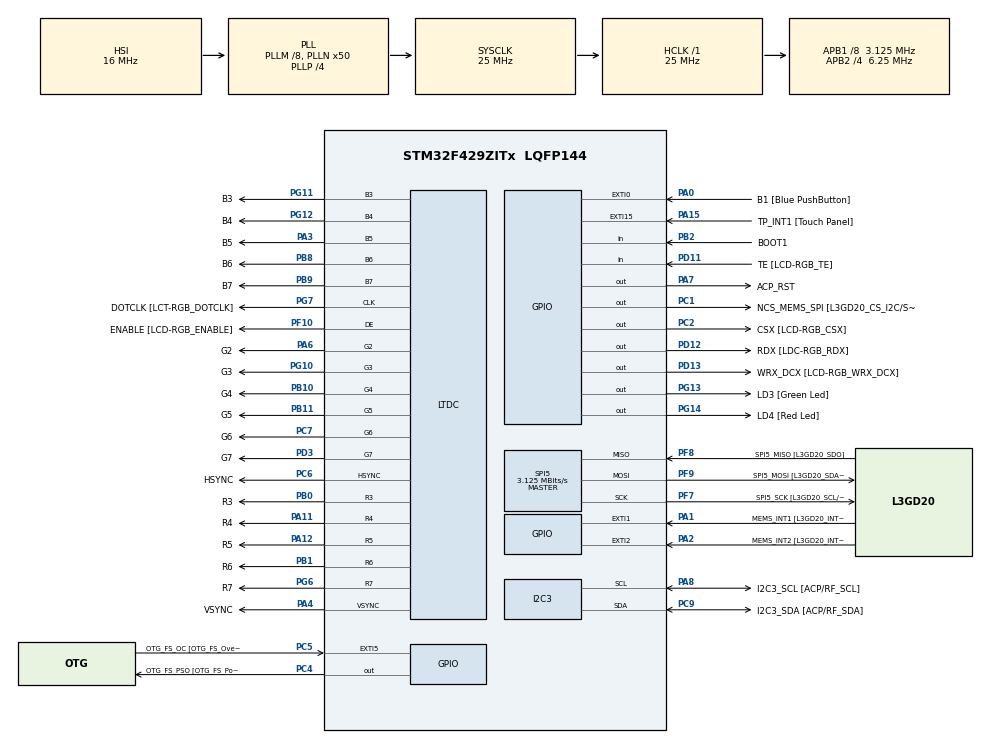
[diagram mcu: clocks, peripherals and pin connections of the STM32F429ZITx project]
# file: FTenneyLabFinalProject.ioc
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Mcu.Family=STM32F4
Mcu.Name=STM32F429ZITx
Mcu.Package=LQFP144
NVIC.PriorityGroup=NVIC_PRIORITYGROUP_0
PA0/WKUP.GPIO_Label=B1 [Blue PushButton]
PA0/WKUP.GPIO_ModeDefaultEXTI=GPIO_MODE_EVT_RISING
PA0/WKUP.GPIO_PuPd=GPIO_NOPULL
PA0/WKUP.Signal=GPXTI0
PA1.GPIO_Label=MEMS_INT1 [L3GD20_INT1]
PA1.GPIO_ModeDefaultEXTI=GPIO_MODE_EVT_RISING
PA1.GPIO_PuPd=GPIO_NOPULL
PA1.Signal=GPXTI1
PA10.GPIO_Label=STLINK_TX [STM32F103CBT6_PA2]
PA10.Signal=USART1_RX
PA11.GPIO_Label=R4
PA11.GPIO_Mode=GPIO_MODE_AF_PP
PA11.GPIO_PuPd=GPIO_NOPULL
PA11.GPIO_Speed=GPIO_SPEED_FREQ_LOW
PA11.Mode=RGB565
PA11.Signal=LTDC_R4
PA12.GPIO_Label=R5
PA12.GPIO_Mode=GPIO_MODE_AF_PP
PA12.GPIO_PuPd=GPIO_NOPULL
PA12.GPIO_Speed=GPIO_SPEED_FREQ_LOW
PA12.Mode=RGB565
PA12.Signal=LTDC_R5
PA13.GPIO_Label=SWDIO
PA13.Signal=SYS_JTMS-SWDIO
PA14.GPIO_Label=SWCLK
PA14.Signal=SYS_JTCK-SWCLK
PA15.GPIO_Label=TP_INT1 [Touch Panel]
PA15.GPIO_ModeDefaultEXTI=GPIO_MODE_EVT_RISING
PA15.GPIO_PuPd=GPIO_NOPULL
PA15.Signal=GPXTI15
PA2.GPIO_Label=MEMS_INT2 [L3GD20_INT2]
PA2.GPIO_ModeDefaultEXTI=GPIO_MODE_EVT_RISING
PA2.GPIO_PuPd=GPIO_NOPULL
PA2.Signal=GPXTI2
PA3.GPIO_Label=B5
PA3.GPIO_Mode=GPIO_MODE_AF_PP
PA3.GPIO_PuPd=GPIO_NOPULL
PA3.GPIO_Speed=GPIO_SPEED_FREQ_LOW
PA3.Mode=RGB565
PA3.Signal=LTDC_B5
PA4.GPIO_Label=VSYNC
PA4.GPIO_Mode=GPIO_MODE_AF_PP
PA4.GPIO_PuPd=GPIO_NOPULL
PA4.GPIO_Speed=GPIO_SPEED_FREQ_LOW
PA4.Mode=RGB565
PA4.Signal=LTDC_VSYNC
PA6.GPIO_Label=G2
PA6.GPIO_Mode=GPIO_MODE_AF_PP
PA6.GPIO_PuPd=GPIO_NOPULL
PA6.GPIO_Speed=GPIO_SPEED_FREQ_LOW
PA6.Mode=RGB565
PA6.Signal=LTDC_G2
PA7.GPIO_Label=ACP_RST
PA7.GPIO_Mode=GPIO_MODE_OUTPUT_PP
PA7.GPIO_PuPd=GPIO_NOPULL
PA7.GPIO_Speed=GPIO_SPEED_FREQ_LOW
PA7.Signal=GPIO_Output
PA8.GPIO_Label=I2C3_SCL [ACP/RF_SCL]
PA8.GPIO_Mode=GPIO_MODE_AF_OD
PA8.GPIO_PuPd=GPIO_NOPULL
PA8.GPIO_Speed=GPIO_SPEED_FREQ_LOW
PA8.Mode=I2C
PA8.Signal=I2C3_SCL
PA9.GPIO_Label=STLINK_RX [STM32F103CBT6_PA3]
PA9.Signal=USART1_TX
PB0.GPIO_Label=R3
PB0.GPIO_Mode=GPIO_MODE_AF_PP
PB0.GPIO_PuPd=GPIO_NOPULL
PB0.GPIO_Speed=GPIO_SPEED_FREQ_LOW
PB0.Mode=RGB565
PB0.Signal=LTDC_R3
PB1.GPIO_Label=R6
PB1.GPIO_Mode=GPIO_MODE_AF_PP
PB1.GPIO_PuPd=GPIO_NOPULL
PB1.GPIO_Speed=GPIO_SPEED_FREQ_LOW
PB1.Mode=RGB565
PB1.Signal=LTDC_R6
PB10.GPIO_Label=G4
PB10.GPIO_Mode=GPIO_MODE_AF_PP
PB10.GPIO_PuPd=GPIO_NOPULL
PB10.GPIO_Speed=GPIO_SPEED_FREQ_LOW
PB10.Mode=RGB565
PB10.Signal=LTDC_G4
PB11.GPIO_Label=G5
PB11.GPIO_Mode=GPIO_MODE_AF_PP
PB11.GPIO_PuPd=GPIO_NOPULL
PB11.GPIO_Speed=GPIO_SPEED_FREQ_LOW
PB11.Mode=RGB565
PB11.Signal=LTDC_G5
PB12.GPIO_Label=OTG_HS_ID
PB12.GPIO_Mode=GPIO_MODE_AF_PP
PB12.GPIO_PuPd=GPIO_NOPULL
PB12.GPIO_Speed=GPIO_SPEED_FREQ_LOW
PB12.Signal=USB_OTG_HS_ID
PB13.GPIO_Label=VBUS_HS
PB13.GPIO_Mode=GPIO_MODE_INPUT
PB13.GPIO_PuPd=GPIO_NOPULL
PB13.Signal=USB_OTG_HS_VBUS
PB14.GPIO_Label=OTG_HS_DM
PB14.GPIO_Mode=GPIO_MODE_AF_PP
PB14.GPIO_PuPd=GPIO_NOPULL
PB14.GPIO_Speed=GPIO_SPEED_FREQ_LOW
PB14.Signal=USB_OTG_HS_DM
PB15.GPIO_Label=OTG_HS_DP
PB15.GPIO_Mode=GPIO_MODE_AF_PP
PB15.GPIO_PuPd=GPIO_NOPULL
PB15.GPIO_Speed=GPIO_SPEED_FREQ_LOW
PB15.Signal=USB_OTG_HS_DP
PB2/BOOT1.GPIO_Label=BOOT1
PB2/BOOT1.GPIO_Mode=GPIO_MODE_INPUT
PB2/BOOT1.GPIO_PuPd=GPIO_NOPULL
PB2/BOOT1.Signal=GPIO_Input
PB5.GPIO_Label=SDCKE1
PB5.GPIO_Mode=GPIO_MODE_AF_PP
PB5.GPIO_PuPd=GPIO_NOPULL
PB5.GPIO_Speed=GPIO_SPEED_FREQ_VERY_HIGH
PB5.Signal=FMC_SDCKE1
PB6.GPIO_Label=SDNE1 [SDRAM_CS]
PB6.GPIO_Mode=GPIO_MODE_AF_PP
PB6.GPIO_PuPd=GPIO_NOPULL
PB6.GPIO_Speed=GPIO_SPEED_FREQ_VERY_HIGH
PB6.Signal=FMC_SDNE1
PB8.GPIO_Label=B6
PB8.GPIO_Mode=GPIO_MODE_AF_PP
PB8.GPIO_PuPd=GPIO_NOPULL
PB8.GPIO_Speed=GPIO_SPEED_FREQ_LOW
PB8.Mode=RGB565
PB8.Signal=LTDC_B6
PB9.GPIO_Label=B7
PB9.GPIO_Mode=GPIO_MODE_AF_PP
PB9.GPIO_PuPd=GPIO_NOPULL
PB9.GPIO_Speed=GPIO_SPEED_FREQ_LOW
PB9.Mode=RGB565
PB9.Signal=LTDC_B7
PC0.GPIO_Label=SDNWE
PC0.GPIO_Mode=GPIO_MODE_AF_PP
PC0.GPIO_PuPd=GPIO_NOPULL
PC0.GPIO_Speed=GPIO_SPEED_FREQ_VERY_HIGH
PC0.Signal=FMC_SDNWE
PC1.GPIO_Label=NCS_MEMS_SPI [L3GD20_CS_I2C/SPI]
PC1.GPIO_Mode=GPIO_MODE_OUTPUT_PP
PC1.GPIO_PuPd=GPIO_NOPULL
PC1.GPIO_Speed=GPIO_SPEED_FREQ_LOW
PC1.Signal=GPIO_Output
PC10.GPIO_Label=R2
PC10.GPIO_Mode=GPIO_MODE_AF_PP
PC10.GPIO_PuPd=GPIO_NOPULL
PC10.GPIO_Speed=GPIO_SPEED_FREQ_LOW
PC10.Signal=LTDC_R2
PC14/OSC32_IN.GPIO_Label=PC14-OSC32_IN
PC14/OSC32_IN.Signal=RCC_OSC32_IN
PC15/OSC32_OUT.GPIO_Label=PC15-OSC32_OUT
PC15/OSC32_OUT.Signal=RCC_OSC32_OUT
PC2.GPIO_Label=CSX [LCD-RGB_CSX]
PC2.GPIO_Mode=GPIO_MODE_OUTPUT_PP
PC2.GPIO_PuPd=GPIO_NOPULL
PC2.GPIO_Speed=GPIO_SPEED_FREQ_LOW
PC2.Signal=GPIO_Output
PC4.GPIO_Label=OTG_FS_PSO [OTG_FS_PowerSwitchOn]
PC4.GPIO_Mode=GPIO_MODE_OUTPUT_PP
PC4.GPIO_PuPd=GPIO_NOPULL
PC4.GPIO_Speed=GPIO_SPEED_FREQ_LOW
PC4.Signal=GPIO_Output
PC5.GPIO_Label=OTG_FS_OC [OTG_FS_OverCurrent]
PC5.GPIO_ModeDefaultEXTI=GPIO_MODE_EVT_RISING
PC5.Signal=GPXTI5
PC6.GPIO_Label=HSYNC
PC6.GPIO_Mode=GPIO_MODE_AF_PP
PC6.GPIO_PuPd=GPIO_NOPULL
PC6.GPIO_Speed=GPIO_SPEED_FREQ_LOW
PC6.Mode=RGB565
PC6.Signal=LTDC_HSYNC
PC7.GPIO_Label=G6
PC7.GPIO_Mode=GPIO_MODE_AF_PP
PC7.GPIO_PuPd=GPIO_NOPULL
PC7.GPIO_Speed=GPIO_SPEED_FREQ_LOW
PC7.Mode=RGB565
PC7.Signal=LTDC_G6
PC9.GPIO_Label=I2C3_SDA [ACP/RF_SDA]
PC9.GPIO_Mode=GPIO_MODE_AF_OD
PC9.GPIO_PuPd=GPIO_NOPULL
PC9.GPIO_Speed=GPIO_SPEED_FREQ_LOW
PC9.Mode=I2C
PC9.Signal=I2C3_SDA
PD0.GPIO_Label=D2
PD0.GPIO_Mode=GPIO_MODE_AF_PP
PD0.GPIO_PuPd=GPIO_NOPULL
PD0.GPIO_Speed=GPIO_SPEED_FREQ_VERY_HIGH
PD0.Signal=FMC_D2_DA2
PD1.GPIO_Label=D3
PD1.GPIO_Mode=GPIO_MODE_AF_PP
PD1.GPIO_PuPd=GPIO_NOPULL
PD1.GPIO_Speed=GPIO_SPEED_FREQ_VERY_HIGH
PD1.Signal=FMC_D3_DA3
PD10.GPIO_Label=D15
PD10.GPIO_Mode=GPIO_MODE_AF_PP
PD10.GPIO_PuPd=GPIO_NOPULL
PD10.GPIO_Speed=GPIO_SPEED_FREQ_VERY_HIGH
PD10.Signal=FMC_D15_DA15
PD11.GPIO_Label=TE [LCD-RGB_TE]
PD11.GPIO_Mode=GPIO_MODE_INPUT
PD11.GPIO_PuPd=GPIO_NOPULL
PD11.Signal=GPIO_Input
PD12.GPIO_Label=RDX [LDC-RGB_RDX]
PD12.GPIO_Mode=GPIO_MODE_OUTPUT_PP
PD12.GPIO_PuPd=GPIO_NOPULL
PD12.GPIO_Speed=GPIO_SPEED_FREQ_LOW
PD12.Signal=GPIO_Output
PD13.GPIO_Label=WRX_DCX [LCD-RGB_WRX_DCX]
PD13.GPIO_Mode=GPIO_MODE_OUTPUT_PP
PD13.GPIO_PuPd=GPIO_NOPULL
PD13.GPIO_Speed=GPIO_SPEED_FREQ_LOW
PD13.Signal=GPIO_Output
PD14.GPIO_Label=D0
PD14.GPIO_Mode=GPIO_MODE_AF_PP
PD14.GPIO_PuPd=GPIO_NOPULL
PD14.GPIO_Speed=GPIO_SPEED_FREQ_VERY_HIGH
PD14.Signal=FMC_D0_DA0
PD15.GPIO_Label=D1
PD15.GPIO_Mode=GPIO_MODE_AF_PP
PD15.GPIO_PuPd=GPIO_NOPULL
PD15.GPIO_Speed=GPIO_SPEED_FREQ_VERY_HIGH
PD15.Signal=FMC_D1_DA1
PD3.GPIO_Label=G7
PD3.GPIO_Mode=GPIO_MODE_AF_PP
PD3.GPIO_PuPd=GPIO_NOPULL
PD3.GPIO_Speed=GPIO_SPEED_FREQ_LOW
PD3.Mode=RGB565
PD3.Signal=LTDC_G7
PD6.GPIO_Label=B2
PD6.GPIO_Mode=GPIO_MODE_AF_PP
PD6.GPIO_PuPd=GPIO_NOPULL
PD6.GPIO_Speed=GPIO_SPEED_FREQ_LOW
PD6.Signal=LTDC_B2
PD8.GPIO_Label=D13
PD8.GPIO_Mode=GPIO_MODE_AF_PP
PD8.GPIO_PuPd=GPIO_NOPULL
PD8.GPIO_Speed=GPIO_SPEED_FREQ_VERY_HIGH
PD8.Signal=FMC_D13_DA13
PD9.GPIO_Label=D14
PD9.GPIO_Mode=GPIO_MODE_AF_PP
PD9.GPIO_PuPd=GPIO_NOPULL
PD9.GPIO_Speed=GPIO_SPEED_FREQ_VERY_HIGH
PD9.Signal=FMC_D14_DA14
PE0.GPIO_Label=NBL0 [SDRAM_LDQM]
PE0.GPIO_Mode=GPIO_MODE_AF_PP
PE0.GPIO_PuPd=GPIO_NOPULL
PE0.GPIO_Speed=GPIO_SPEED_FREQ_VERY_HIGH
PE0.Signal=FMC_NBL0
PE1.GPIO_Label=NBL1 [SDRAM_UDQM]
PE1.GPIO_Mode=GPIO_MODE_AF_PP
PE1.GPIO_PuPd=GPIO_NOPULL
PE1.GPIO_Speed=GPIO_SPEED_FREQ_VERY_HIGH
PE1.Signal=FMC_NBL1
PE10.GPIO_Label=D7
PE10.GPIO_Mode=GPIO_MODE_AF_PP
PE10.GPIO_PuPd=GPIO_NOPULL
PE10.GPIO_Speed=GPIO_SPEED_FREQ_VERY_HIGH
PE10.Signal=FMC_D7_DA7
PE11.GPIO_Label=D8
PE11.GPIO_Mode=GPIO_MODE_AF_PP
PE11.GPIO_PuPd=GPIO_NOPULL
PE11.GPIO_Speed=GPIO_SPEED_FREQ_VERY_HIGH
PE11.Signal=FMC_D8_DA8
PE12.GPIO_Label=D9
PE12.GPIO_Mode=GPIO_MODE_AF_PP
PE12.GPIO_PuPd=GPIO_NOPULL
PE12.GPIO_Speed=GPIO_SPEED_FREQ_VERY_HIGH
PE12.Signal=FMC_D9_DA9
PE13.GPIO_Label=D10
PE13.GPIO_Mode=GPIO_MODE_AF_PP
PE13.GPIO_PuPd=GPIO_NOPULL
PE13.GPIO_Speed=GPIO_SPEED_FREQ_VERY_HIGH
PE13.Signal=FMC_D10_DA10
PE14.GPIO_Label=D11
PE14.GPIO_Mode=GPIO_MODE_AF_PP
PE14.GPIO_PuPd=GPIO_NOPULL
PE14.GPIO_Speed=GPIO_SPEED_FREQ_VERY_HIGH
PE14.Signal=FMC_D11_DA11
PE15.GPIO_Label=D12
PE15.GPIO_Mode=GPIO_MODE_AF_PP
PE15.GPIO_PuPd=GPIO_NOPULL
PE15.GPIO_Speed=GPIO_SPEED_FREQ_VERY_HIGH
PE15.Signal=FMC_D12_DA12
PE7.GPIO_Label=D4
PE7.GPIO_Mode=GPIO_MODE_AF_PP
PE7.GPIO_PuPd=GPIO_NOPULL
PE7.GPIO_Speed=GPIO_SPEED_FREQ_VERY_HIGH
PE7.Signal=FMC_D4_DA4
PE8.GPIO_Label=D5
PE8.GPIO_Mode=GPIO_MODE_AF_PP
PE8.GPIO_PuPd=GPIO_NOPULL
PE8.GPIO_Speed=GPIO_SPEED_FREQ_VERY_HIGH
PE8.Signal=FMC_D5_DA5
PE9.GPIO_Label=D6
PE9.GPIO_Mode=GPIO_MODE_AF_PP
PE9.GPIO_PuPd=GPIO_NOPULL
PE9.GPIO_Speed=GPIO_SPEED_FREQ_VERY_HIGH
PE9.Signal=FMC_D6_DA6
PF0.GPIO_Label=A0
PF0.GPIO_Mode=GPIO_MODE_AF_PP
PF0.GPIO_PuPd=GPIO_NOPULL
PF0.GPIO_Speed=GPIO_SPEED_FREQ_VERY_HIGH
PF0.Signal=FMC_A0
PF1.GPIO_Label=A1
PF1.GPIO_Mode=GPIO_MODE_AF_PP
PF1.GPIO_PuPd=GPIO_NOPULL
PF1.GPIO_Speed=GPIO_SPEED_FREQ_VERY_HIGH
PF1.Signal=FMC_A1
PF10.GPIO_Label=ENABLE [LCD-RGB_ENABLE]
PF10.GPIO_Mode=GPIO_MODE_AF_PP
PF10.GPIO_PuPd=GPIO_NOPULL
PF10.GPIO_Speed=GPIO_SPEED_FREQ_LOW
PF10.Mode=RGB565
PF10.Signal=LTDC_DE
PF11.GPIO_Label=SDNRAS
PF11.GPIO_Mode=GPIO_MODE_AF_PP
PF11.GPIO_PuPd=GPIO_NOPULL
PF11.GPIO_Speed=GPIO_SPEED_FREQ_VERY_HIGH
PF11.Signal=FMC_SDNRAS
PF12.GPIO_Label=A6
PF12.GPIO_Mode=GPIO_MODE_AF_PP
PF12.GPIO_PuPd=GPIO_NOPULL
PF12.GPIO_Speed=GPIO_SPEED_FREQ_VERY_HIGH
PF12.Signal=FMC_A6
PF13.GPIO_Label=A7
PF13.GPIO_Mode=GPIO_MODE_AF_PP
PF13.GPIO_PuPd=GPIO_NOPULL
PF13.GPIO_Speed=GPIO_SPEED_FREQ_VERY_HIGH
PF13.Signal=FMC_A7
PF14.GPIO_Label=A8
PF14.GPIO_Mode=GPIO_MODE_AF_PP
PF14.GPIO_PuPd=GPIO_NOPULL
PF14.GPIO_Speed=GPIO_SPEED_FREQ_VERY_HIGH
PF14.Signal=FMC_A8
PF15.GPIO_Label=A9
PF15.GPIO_Mode=GPIO_MODE_AF_PP
PF15.GPIO_PuPd=GPIO_NOPULL
PF15.GPIO_Speed=GPIO_SPEED_FREQ_VERY_HIGH
PF15.Signal=FMC_A9
PF2.GPIO_Label=A2
PF2.GPIO_Mode=GPIO_MODE_AF_PP
PF2.GPIO_PuPd=GPIO_NOPULL
PF2.GPIO_Speed=GPIO_SPEED_FREQ_VERY_HIGH
PF2.Signal=FMC_A2
PF3.GPIO_Label=A3
PF3.GPIO_Mode=GPIO_MODE_AF_PP
PF3.GPIO_PuPd=GPIO_NOPULL
PF3.GPIO_Speed=GPIO_SPEED_FREQ_VERY_HIGH
PF3.Signal=FMC_A3
PF4.GPIO_Label=A4
PF4.GPIO_Mode=GPIO_MODE_AF_PP
PF4.GPIO_PuPd=GPIO_NOPULL
PF4.GPIO_Speed=GPIO_SPEED_FREQ_VERY_HIGH
PF4.Signal=FMC_A4
PF5.GPIO_Label=A5
PF5.GPIO_Mode=GPIO_MODE_AF_PP
PF5.GPIO_PuPd=GPIO_NOPULL
PF5.GPIO_Speed=GPIO_SPEED_FREQ_VERY_HIGH
PF5.Signal=FMC_A5
PF7.GPIO_Label=SPI5_SCK [L3GD20_SCL/SPC]
PF7.GPIO_Mode=GPIO_MODE_AF_PP
PF7.GPIO_PuPd=GPIO_NOPULL
PF7.GPIO_Speed=GPIO_SPEED_FREQ_LOW
PF7.Mode=Full_Duplex_Master
PF7.Signal=SPI5_SCK
PF8.GPIO_Label=SPI5_MISO [L3GD20_SDO]
PF8.GPIO_Mode=GPIO_MODE_AF_PP
PF8.GPIO_PuPd=GPIO_NOPULL
PF8.GPIO_Speed=GPIO_SPEED_FREQ_LOW
PF8.Mode=Full_Duplex_Master
PF8.Signal=SPI5_MISO
PF9.GPIO_Label=SPI5_MOSI [L3GD20_SDA/SDI/SDO]
PF9.GPIO_Mode=GPIO_MODE_AF_PP
PF9.GPIO_PuPd=GPIO_NOPULL
PF9.GPIO_Speed=GPIO_SPEED_FREQ_LOW
PF9.Mode=Full_Duplex_Master
PF9.Signal=SPI5_MOSI
PG0.GPIO_Label=A10
PG0.GPIO_Mode=GPIO_MODE_AF_PP
PG0.GPIO_PuPd=GPIO_NOPULL
PG0.GPIO_Speed=GPIO_SPEED_FREQ_VERY_HIGH
PG0.Signal=FMC_A10
PG1.GPIO_Label=A11
PG1.GPIO_Mode=GPIO_MODE_AF_PP
PG1.GPIO_PuPd=GPIO_NOPULL
PG1.GPIO_Speed=GPIO_SPEED_FREQ_VERY_HIGH
PG1.Signal=FMC_A11
PG10.GPIO_Label=G3
PG10.GPIO_Mode=GPIO_MODE_AF_PP
PG10.GPIO_PuPd=GPIO_NOPULL
PG10.GPIO_Speed=GPIO_SPEED_FREQ_LOW
PG10.Mode=RGB565
PG10.Signal=LTDC_G3
PG11.GPIO_Label=B3
PG11.GPIO_Mode=GPIO_MODE_AF_PP
PG11.GPIO_PuPd=GPIO_NOPULL
PG11.GPIO_Speed=GPIO_SPEED_FREQ_LOW
PG11.Mode=RGB565
PG11.Signal=LTDC_B3
PG12.GPIO_Label=B4
PG12.GPIO_Mode=GPIO_MODE_AF_PP
PG12.GPIO_PuPd=GPIO_NOPULL
PG12.GPIO_Speed=GPIO_SPEED_FREQ_LOW
PG12.Mode=RGB565
PG12.Signal=LTDC_B4
PG13.GPIO_Label=LD3 [Green Led]
PG13.GPIO_Mode=GPIO_MODE_OUTPUT_PP
PG13.GPIO_PuPd=GPIO_NOPULL
PG13.GPIO_Speed=GPIO_SPEED_FREQ_LOW
PG13.Signal=GPIO_Output
PG14.GPIO_Label=LD4 [Red Led]
PG14.GPIO_Mode=GPIO_MODE_OUTPUT_PP
PG14.GPIO_PuPd=GPIO_NOPULL
PG14.GPIO_Speed=GPIO_SPEED_FREQ_LOW
PG14.Signal=GPIO_Output
PG15.GPIO_Label=SDNCAS
PG15.GPIO_Mode=GPIO_MODE_AF_PP
PG15.GPIO_PuPd=GPIO_NOPULL
PG15.GPIO_Speed=GPIO_SPEED_FREQ_VERY_HIGH
PG15.Signal=FMC_SDNCAS
PG4.GPIO_Label=BA0
PG4.GPIO_Mode=GPIO_MODE_AF_PP
PG4.GPIO_PuPd=GPIO_NOPULL
PG4.GPIO_Speed=GPIO_SPEED_FREQ_VERY_HIGH
PG4.Signal=FMC_A14_BA0
PG5.GPIO_Label=BA1
PG5.GPIO_Mode=GPIO_MODE_AF_PP
PG5.GPIO_PuPd=GPIO_NOPULL
PG5.GPIO_Speed=GPIO_SPEED_FREQ_VERY_HIGH
PG5.Signal=FMC_A15_BA1
PG6.GPIO_Label=R7
PG6.GPIO_Mode=GPIO_MODE_AF_PP
PG6.GPIO_PuPd=GPIO_NOPULL
PG6.GPIO_Speed=GPIO_SPEED_FREQ_LOW
PG6.Mode=RGB565
PG6.Signal=LTDC_R7
PG7.GPIO_Label=DOTCLK [LCT-RGB_DOTCLK]
PG7.GPIO_Mode=GPIO_MODE_AF_PP
PG7.GPIO_PuPd=GPIO_NOPULL
PG7.GPIO_Speed=GPIO_SPEED_FREQ_LOW
PG7.Mode=RGB565
PG7.Signal=LTDC_CLK
PG8.GPIO_Label=SDCLK
PG8.GPIO_Mode=GPIO_MODE_AF_PP
PG8.GPIO_PuPd=GPIO_NOPULL
PG8.GPIO_Speed=GPIO_SPEED_FREQ_VERY_HIGH
PG8.Signal=FMC_SDCLK
PH0/OSC_IN.GPIO_Label=PH0-OSC_IN
PH0/OSC_IN.Signal=RCC_OSC_IN
PH1/OSC_OUT.GPIO_Label=PH1-OSC_OUT
PH1/OSC_OUT.Signal=RCC_OSC_OUT
ProjectManager.HeapSize=0x200
ProjectManager.StackSize=0x400
ProjectManager.TargetToolchain=STM32CubeIDE
RCC.48MHZClocksFreq_Value=14285714.285714285
RCC.AHBFreq_Value=25000000
RCC.APB1CLKDivider=RCC_HCLK_DIV8
RCC.APB1Freq_Value=3125000
RCC.APB1TimFreq_Value=6250000
RCC.APB2CLKDivider=RCC_HCLK_DIV4
RCC.APB2Freq_Value=6250000
RCC.APB2TimFreq_Value=12500000
RCC.CortexFreq_Value=25000000
RCC.HCLKFreq_Value=25000000
RCC.HSE_VALUE=8000000
RCC.HSI_VALUE=16000000
RCC.LSE_VALUE=32768
RCC.PLLM=8
RCC.PLLN=50
RCC.PLLP=RCC_PLLP_DIV4
RCC.PLLQ=7
RCC.PLLSAIN=50
RCC.SYSCLKFreq_VALUE=25000000
RCC.SYSCLKSource=RCC_SYSCLKSOURCE_PLLCLK
RCC.VCOOutputFreq_Value=100000000
SH.FMC_A0.0=FMC_A0
SH.FMC_A1.0=FMC_A1
SH.FMC_A10.0=FMC_A10
SH.FMC_A11.0=FMC_A11
SH.FMC_A14_BA0.0=FMC_BA0
SH.FMC_A15_BA1.0=FMC_BA1
SH.FMC_A2.0=FMC_A2
SH.FMC_A3.0=FMC_A3
SH.FMC_A4.0=FMC_A4
SH.FMC_A5.0=FMC_A5
SH.FMC_A6.0=FMC_A6
SH.FMC_A7.0=FMC_A7
SH.FMC_A8.0=FMC_A8
SH.FMC_A9.0=FMC_A9
SH.FMC_D0_DA0.0=FMC_D0
SH.FMC_D10_DA10.0=FMC_D10
SH.FMC_D11_DA11.0=FMC_D11
SH.FMC_D12_DA12.0=FMC_D12
SH.FMC_D13_DA13.0=FMC_D13
SH.FMC_D14_DA14.0=FMC_D14
SH.FMC_D15_DA15.0=FMC_D15
SH.FMC_D1_DA1.0=FMC_D1
SH.FMC_D2_DA2.0=FMC_D2
SH.FMC_D3_DA3.0=FMC_D3
SH.FMC_D4_DA4.0=FMC_D4
SH.FMC_D5_DA5.0=FMC_D5
SH.FMC_D6_DA6.0=FMC_D6
SH.FMC_D7_DA7.0=FMC_D7
SH.FMC_D8_DA8.0=FMC_D8
SH.FMC_D9_DA9.0=FMC_D9
SH.FMC_NBL0.0=FMC_NBL0
SH.FMC_NBL1.0=FMC_NBL1
SH.FMC_SDCLK.0=FMC_SDCLK
SH.FMC_SDNCAS.0=FMC_SDNCAS
SH.FMC_SDNRAS.0=FMC_SDNRAS
SH.FMC_SDNWE.0=FMC_SDNWE
SPI5.CalculateBaudRate=3.125 MBits/s
SPI5.Direction=SPI_DIRECTION_2LINES
SPI5.Mode=SPI_MODE_MASTER
SPI5.VirtualType=VM_MASTER
VP_RNG_VS_RNG.Mode=RNG_Activate
VP_TIM7_VS_ClockSourceINT.Mode=Enable_Timer
board=STM32F429I-DISC1

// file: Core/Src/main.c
/* USER CODE BEGIN Header */
/**
  ******************************************************************************
  * @file           : main.c
  * @brief          : Main program body
  ******************************************************************************
  * @attention
  *
  * Copyright (c) 2024 STMicroelectronics.
  * All rights reserved.
  *
  * This software is licensed under terms that can be found in the LICENSE file
  * in the root directory of this software component.
  * If no LICENSE file comes with this software, it is provided AS-IS.
  *
  ******************************************************************************
  */
/* USER CODE END Header */
#include "main.h"
#include "LCD_Driver.h"
#include "ApplicationCode.h"
#include "ButtonDriver.h"

uint16_t CurrentY = 200;
void SystemClock_Config(void);
void SystemClockOverride(void);
// static void MX_GPIO_Init(void);

I2C_HandleTypeDef hi2c3;

LTDC_HandleTypeDef hltdc;

RNG_HandleTypeDef hrng;

SPI_HandleTypeDef hspi5;

TIM_HandleTypeDef htim7;

void SystemClock_Config(void);
static void MX_GPIO_Init(void);
static void MX_I2C3_Init(void);
static void MX_LTDC_Init(void);
static void MX_RNG_Init(void);
static void MX_SPI5_Init(void);
static void MX_TIM7_Init(void);

void startScreen(void){
	LCD_Clear(0,LCD_COLOR_WHITE);
	 LCD_SetTextColor(LCD_COLOR_BLACK);
		  LCD_SetFont(&Font16x24);
		  LCD_DisplayChar(60, 50, 'T');
		  LCD_SetTextColor(LCD_COLOR_BLACK);
		  LCD_SetFont(&Font16x24);
		  LCD_DisplayChar(80, 50, 'E');
		  LCD_SetTextColor(LCD_COLOR_BLACK);
		  LCD_SetFont(&Font16x24);
		  LCD_DisplayChar(100, 50, 'T');
		  LCD_SetTextColor(LCD_COLOR_BLACK);
		  LCD_SetFont(&Font16x24);
		  LCD_DisplayChar(120, 50, 'R');
		  LCD_SetTextColor(LCD_COLOR_BLACK);
		  LCD_SetFont(&Font16x24);
		  LCD_DisplayChar(140, 50, 'I');
		  LCD_SetTextColor(LCD_COLOR_BLACK);
		  LCD_SetFont(&Font16x24);
		  LCD_DisplayChar(160, 50, 'S');
		  LCD_Draw_Rectangle_Fill(85, 25, LCD_COLOR_BLACK, 0);
		  //LCD_Draw_Rectangle_Rotate1_Fill(25, 25, LCD_COLOR_CYAN);
		  LCD_Draw_BBox_Fill(50, 240, LCD_COLOR_GREEN);
		  LCD_Draw_LShape1_Fill(70, 75, LCD_COLOR_MAGENTA,0);
		  LCD_Draw_LShape2_Fill(150, 100, LCD_COLOR_CYAN,0);
		  LCD_Draw_TBox_Fill(45, 10,  LCD_COLOR_RED,0);
		  LCD_Draw_ZShape_Fill(190, 175, LCD_COLOR_GREY,0);
		  LCD_Draw_SShape_Fill(200, 100, LCD_COLOR_BLUE2,0);
		  LCD_Draw_Platform_Fill(0, 300, LCD_COLOR_BLACK);
		  LCD_SetFont(&Font16x24);
		  LCD_DisplayChar(70, 150, 'S');
		  LCD_SetTextColor(LCD_COLOR_BLACK);
		  LCD_SetFont(&Font16x24);
		  LCD_DisplayChar(90, 150, 'T');
		  LCD_SetTextColor(LCD_COLOR_BLACK);
		  LCD_SetFont(&Font16x24);
		  LCD_DisplayChar(110, 150, 'A');
		  LCD_SetTextColor(LCD_COLOR_BLACK);
		  LCD_SetFont(&Font16x24);
		  LCD_DisplayChar(130, 150, 'R');
		  LCD_SetTextColor(LCD_COLOR_BLACK);
		  LCD_SetFont(&Font16x24);
		  LCD_DisplayChar(150, 150, 'T');
}
void gameScreen(uint32_t BlockNumber){
   uint32_t eventsToRun;
	uint16_t y = 0;
	uint16_t blockSize = 20;
	uint16_t Fallrate = 100;
	uint16_t degree = 0;
	uint16_t level = 75;
//LCD_PIXEL_HEIGHT   ((uint16_t)320)
		switch(BlockNumber){
						case 0:
							for(y =0; y<CurrentY; y++){
								  LCD_Clear_Game(0, LCD_COLOR_BLUE, CurrentY+level);
								  LCD_Draw_Platform_Fill(0, 300, LCD_COLOR_BLACK);
								  LCD_Draw_BBox_Fill(50, (y + level) , LCD_COLOR_GREEN);
									  if(y == 274){
										LCD_Draw_Platform_Fill(0, 300, LCD_COLOR_BLACK);
										LCD_Draw_BBox_Fill(50, (y + level) , LCD_COLOR_GREEN);
									  }

									  HAL_Delay(Fallrate);
									  eventsToRun = getScheduledEvents();
									  if(ROTATE_BLOCK & eventsToRun){

										removeSchedulerEvent(ROTATE_BLOCK);
									  }
								  }
							CurrentY = y - blockSize;
							break;
						case 1:

							while(y != CurrentY){
								if(y < 289){
								  LCD_Clear_Game(0, LCD_COLOR_BLUE, CurrentY+level);
								  LCD_Draw_Platform_Fill(0, 300, LCD_COLOR_BLACK);
								  LCD_Draw_Rectangle_Fill(50, (y + level), LCD_COLOR_MAGENTA, degree);
								}
								if(y == 289){
										LCD_Draw_Platform_Fill(0, 300, LCD_COLOR_BLACK);
										LCD_Draw_Rectangle_Fill(50, (y + level), LCD_COLOR_MAGENTA, degree);
								  }
									  HAL_Delay(Fallrate);
									  y++;
								eventsToRun = getScheduledEvents();
								if(ROTATE_BLOCK & eventsToRun){
										degree = 1 - degree;
										 removeSchedulerEvent(ROTATE_BLOCK);
								}

							}
							CurrentY = y - blockSize;
							break;
						case 2:
							while(y != CurrentY){
									LCD_Clear_Game(0, LCD_COLOR_BLUE, CurrentY+level);
									  LCD_Draw_Platform_Fill(0, 300, LCD_COLOR_BLACK);
									  LCD_Draw_LShape1_Fill(50, (y + level), LCD_COLOR_YELLOW,degree);
										  if(y == 289){
											LCD_Draw_Platform_Fill(0, 300, LCD_COLOR_BLACK);
											LCD_Draw_LShape1_Fill(50, (y + level) , LCD_COLOR_YELLOW,degree);
										  }

										  HAL_Delay(Fallrate);
										  y++;
										  eventsToRun = getScheduledEvents();
										if(ROTATE_BLOCK & eventsToRun){
												degree = 1 - degree;
												 removeSchedulerEvent(ROTATE_BLOCK);
										}
									  }
								CurrentY = y - blockSize;
								break;
						case 3:
							while(y != CurrentY){
									LCD_Clear_Game(0, LCD_COLOR_BLUE, CurrentY+level);
									  LCD_Draw_Platform_Fill(0, 300, LCD_COLOR_BLACK);
									  LCD_Draw_LShape2_Fill(50, (y + level), LCD_COLOR_RED, degree);
										  if(y == 289){
											LCD_Draw_Platform_Fill(0, 300, LCD_COLOR_BLACK);
											LCD_Draw_LShape2_Fill(50, (y + level), LCD_COLOR_RED, degree);
										  }

										  HAL_Delay(Fallrate);
                                          y++;
										  eventsToRun = getScheduledEvents();
										if(ROTATE_BLOCK & eventsToRun){
												degree = 1 - degree;
												 removeSchedulerEvent(ROTATE_BLOCK);
										}
									  }
								CurrentY = y - blockSize;
								break;
						case 4:
							    while(y != CurrentY){
									LCD_Clear_Game(0, LCD_COLOR_BLUE, CurrentY+level);
									  LCD_Draw_Platform_Fill(0, 300, LCD_COLOR_BLACK);
									  LCD_Draw_TBox_Fill(50, (y + level), LCD_COLOR_RED, degree);
										  if(y == 289){
											LCD_Draw_Platform_Fill(0, 300, LCD_COLOR_BLACK);
											LCD_Draw_TBox_Fill(50, (y + level), LCD_COLOR_RED,degree);
										  }

										  HAL_Delay(Fallrate);
										  y++;
										  eventsToRun = getScheduledEvents();
										if(ROTATE_BLOCK & eventsToRun){
												degree = 1 - degree;
												 removeSchedulerEvent(ROTATE_BLOCK);
										}
									  }
								CurrentY = y - blockSize;
								break;
						case 5:
							while(y != CurrentY){
									LCD_Clear_Game(0, LCD_COLOR_BLUE, CurrentY+level+25);
									  LCD_Draw_Platform_Fill(0, 300, LCD_COLOR_BLACK);
									  LCD_Draw_ZShape_Fill(50, (y + level), LCD_COLOR_WHITE,degree);
										  if(y == 289){
											LCD_Draw_Platform_Fill(0, 300, LCD_COLOR_BLACK);
											LCD_Draw_ZShape_Fill(50, (y + level), LCD_COLOR_WHITE,degree);
										  }

										  HAL_Delay(Fallrate);
										  y++;
										  eventsToRun = getScheduledEvents();
										if(ROTATE_BLOCK & eventsToRun){
												degree = 1 - degree;
												 removeSchedulerEvent(ROTATE_BLOCK);
										}
									  }
								CurrentY = y - blockSize;
								break;
						case 6:
							while(y != CurrentY){
									  //LCD_Clear(0,LCD_COLOR_BLUE);
									LCD_Clear_Game(0, LCD_COLOR_BLUE, CurrentY+level);
									  LCD_Draw_Platform_Fill(0, 300, LCD_COLOR_BLACK);
									  LCD_Draw_SShape_Fill(50, (y + level), LCD_COLOR_YELLOW, degree);
										  if(y == 289){
											LCD_Draw_Platform_Fill(0, 300, LCD_COLOR_BLACK);
											LCD_Draw_SShape_Fill(50, (y + level), LCD_COLOR_YELLOW, degree );
										  }

										  HAL_Delay(Fallrate);
										  y++;
										  eventsToRun = getScheduledEvents();
										if(ROTATE_BLOCK & eventsToRun){
												degree = 1 - degree;
												 removeSchedulerEvent(ROTATE_BLOCK);
										}
									  }
								CurrentY = y - blockSize;
								break;

		}

}
void gameOver(uint32_t time){
	LCD_Clear(0,LCD_COLOR_WHITE);
		 LCD_SetTextColor(LCD_COLOR_BLACK);
			  LCD_SetFont(&Font16x24);
			  LCD_DisplayChar(60, 50, 'T');
			  LCD_SetTextColor(LCD_COLOR_BLACK);
			  LCD_SetFont(&Font16x24);
			  LCD_DisplayChar(80, 50, 'E');
			  LCD_SetTextColor(LCD_COLOR_BLACK);
			  LCD_SetFont(&Font16x24);
			  LCD_DisplayChar(100, 50, 'T');
			  LCD_SetTextColor(LCD_COLOR_BLACK);
			  LCD_SetFont(&Font16x24);
			  LCD_DisplayChar(120, 50, 'R');
			  LCD_SetTextColor(LCD_COLOR_BLACK);
			  LCD_SetFont(&Font16x24);
			  LCD_DisplayChar(140, 50, 'I');
			  LCD_SetTextColor(LCD_COLOR_BLACK);
			  LCD_SetFont(&Font16x24);
			  LCD_DisplayChar(160, 50, 'S');
			  LCD_Draw_Rectangle_Fill(85, 25, LCD_COLOR_BLACK, 0);
			  //LCD_Draw_Rectangle_Rotate1_Fill(25, 25, LCD_COLOR_CYAN);
			  LCD_Draw_BBox_Fill(50, 240, LCD_COLOR_GREEN);
			  LCD_Draw_LShape1_Fill(70, 75, LCD_COLOR_MAGENTA,0);
			  LCD_Draw_LShape2_Fill(150, 100, LCD_COLOR_CYAN,0);
			  LCD_Draw_TBox_Fill(45, 10,  LCD_COLOR_RED,0);
			  LCD_Draw_ZShape_Fill(190, 175, LCD_COLOR_GREY,0);
			  LCD_Draw_SShape_Fill(200, 100, LCD_COLOR_BLUE2,0);
			  LCD_Draw_Platform_Fill(0, 300, LCD_COLOR_BLACK);
			  LCD_SetFont(&Font16x24);
			  LCD_DisplayChar(70, 150, 'G');
			  LCD_SetTextColor(LCD_COLOR_BLACK);
			  LCD_SetFont(&Font16x24);
			  LCD_DisplayChar(90, 150, 'A');
			  LCD_SetTextColor(LCD_COLOR_BLACK);
			  LCD_SetFont(&Font16x24);
			  LCD_DisplayChar(110, 150, 'M');
			  LCD_SetTextColor(LCD_COLOR_BLACK);
			  LCD_SetFont(&Font16x24);
			  LCD_DisplayChar(130, 150, 'E');
			  LCD_SetFont(&Font16x24);
			  LCD_DisplayChar(70, 180, 'O');
			  LCD_SetTextColor(LCD_COLOR_BLACK);
			  LCD_SetFont(&Font16x24);
			  LCD_DisplayChar(90, 180, 'V');
			  LCD_SetTextColor(LCD_COLOR_BLACK);
			  LCD_SetFont(&Font16x24);
			  LCD_DisplayChar(110, 180, 'E');
			  LCD_SetTextColor(LCD_COLOR_BLACK);
			  LCD_SetFont(&Font16x24);
			  LCD_DisplayChar(130, 180, 'R');

			  // Convert time to milliseconds

			  // Convert milliseconds to minutes and seconds
			  uint32_t seconds = ((time * 238) / 1000) % 60;
			  uint32_t minutes = ((time * 238) / 1000) /60;
			  // Format the time into a string
			  char time_str[20];
			  snprintf(time_str, sizeof(time_str), "Time: %lu:%02lu", minutes, seconds); // Display the time string on the LCD

			  LCD_PrintString(time_str); // Print the time string

}
uint32_t GenerateRandomNumberTetris(void){
	uint32_t random32bit;
	HAL_StatusTypeDef status = HAL_RNG_GenerateRandomNumber(&hrng, &random32bit);

	if(status == HAL_OK){
		uint32_t random_number = random32bit % 6;
		return random_number;
	}
	else{ return 0;}
}
int main(void)
{

  /* MCU Configuration--------------------------------------------------------*/

  /* Reset of all peripherals, Initializes the Flash interface and the Systick. */
  HAL_Init();

  /* Configure the system clock */
  //SystemClock_Config();
  // The default system configuration function is "suspect" so we need to make our own clock configuration
   // Note - You, the developer, MAY have to play with some of this coniguration as you progress in your project
   SystemClockOverride();

  /* Initialize all configured peripherals */
  MX_GPIO_Init();
  MX_I2C3_Init();
  MX_LTDC_Init();
  MX_RNG_Init();
  MX_SPI5_Init();
  MX_TIM7_Init();
  Button_Interrupt_Init();
  /* USER CODE BEGIN 2 */
  ApplicationInit(); // Initializes the LCD functionality
  addSchedulerEvent(START_SCREEN);

 // HAL_Delay(8000);
  /*uint16_t y;
  for(y =0; y<100; y++){
  	  LCD_Clear(0,LCD_COLOR_BLUE);
  	  LCD_Draw_Circle_Fill(50, (150 + y), 10, LCD_COLOR_GREEN);

  	  HAL_Delay(70);
  }
	  LCD_Clear(0,LCD_COLOR_BLUE);
	  LCD_Draw_Circle_Fill(50, 75, 5, LCD_COLOR_MAGENTA);
	  HAL_Delay(500);
	  LCD_Clear(0,LCD_COLOR_BLUE);
	  HAL_Delay(500);*/

  //HAL_Delay(200);

  /* USER CODE END 2 */
  uint32_t eventsToRun;
  uint8_t flag = 1;
  uint32_t Current_Block = 0;

  /* Infinite loop */
  while (1)
  {
    eventsToRun = getScheduledEvents();

		  if( START_SCREEN & eventsToRun)
		  { startScreen();
		      removeSchedulerEvent(START_SCREEN);}
		  else if(SWITCH_TO_GAME_SCREEN & eventsToRun){
			  if(flag == 1){ HAL_TIM_Base_Start(&htim7);
			  	  flag = 0;
			  }
				  Current_Block = GenerateRandomNumberTetris();
				  gameScreen(Current_Block);
				  addSchedulerEvent(SWITCH_TO_GAME_SCREEN);
				  if(CurrentY < 10){
	                  HAL_TIM_Base_Stop(&htim7);
                      uint32_t elapsed_time = __HAL_TIM_GET_COUNTER(&htim7); // Get the timer counter value
                      gameOver(elapsed_time);
				  }

          }

  }
}

static void MX_I2C3_Init(void)
{

  hi2c3.Instance = I2C3;
  hi2c3.Init.ClockSpeed = 100000;
  hi2c3.Init.DutyCycle = I2C_DUTYCYCLE_2;
  hi2c3.Init.OwnAddress1 = 0;
  hi2c3.Init.AddressingMode = I2C_ADDRESSINGMODE_7BIT;
  hi2c3.Init.DualAddressMode = I2C_DUALADDRESS_DISABLE;
  hi2c3.Init.OwnAddress2 = 0;
  hi2c3.Init.GeneralCallMode = I2C_GENERALCALL_DISABLE;
  hi2c3.Init.NoStretchMode = I2C_NOSTRETCH_DISABLE;
  if (HAL_I2C_Init(&hi2c3) != HAL_OK)
  {
    Error_Handler();
  }

  /** Configure Analogue filter
  */
  if (HAL_I2CEx_ConfigAnalogFilter(&hi2c3, I2C_ANALOGFILTER_ENABLE) != HAL_OK)
  {
    Error_Handler();
  }

  /** Configure Digital filter
  */
  if (HAL_I2CEx_ConfigDigitalFilter(&hi2c3, 0) != HAL_OK)
  {
    Error_Handler();
  }

}

static void MX_LTDC_Init(void)
{

  LTDC_LayerCfgTypeDef pLayerCfg = {0};
  LTDC_LayerCfgTypeDef pLayerCfg1 = {0};

  hltdc.Instance = LTDC;
  hltdc.Init.HSPolarity = LTDC_HSPOLARITY_AL;
  hltdc.Init.VSPolarity = LTDC_VSPOLARITY_AL;
  hltdc.Init.DEPolarity = LTDC_DEPOLARITY_AL;
  hltdc.Init.PCPolarity = LTDC_PCPOLARITY_IPC;
  hltdc.Init.HorizontalSync = 7;
  hltdc.Init.VerticalSync = 3;
  hltdc.Init.AccumulatedHBP = 14;
  hltdc.Init.AccumulatedVBP = 5;
  hltdc.Init.AccumulatedActiveW = 654;
  hltdc.Init.AccumulatedActiveH = 485;
  hltdc.Init.TotalWidth = 660;
  hltdc.Init.TotalHeigh = 487;
  hltdc.Init.Backcolor.Blue = 0;
  hltdc.Init.Backcolor.Green = 0;
  hltdc.Init.Backcolor.Red = 0;
  if (HAL_LTDC_Init(&hltdc) != HAL_OK)
  {
    Error_Handler();
  }
  pLayerCfg.WindowX0 = 0;
  pLayerCfg.WindowX1 = 0;
  pLayerCfg.WindowY0 = 0;
  pLayerCfg.WindowY1 = 0;
  pLayerCfg.PixelFormat = LTDC_PIXEL_FORMAT_ARGB8888;
  pLayerCfg.Alpha = 0;
  pLayerCfg.Alpha0 = 0;
  pLayerCfg.BlendingFactor1 = LTDC_BLENDING_FACTOR1_CA;
  pLayerCfg.BlendingFactor2 = LTDC_BLENDING_FACTOR2_CA;
  pLayerCfg.FBStartAdress = 0;
  pLayerCfg.ImageWidth = 0;
  pLayerCfg.ImageHeight = 0;
  pLayerCfg.Backcolor.Blue = 0;
  pLayerCfg.Backcolor.Green = 0;
  pLayerCfg.Backcolor.Red = 0;
  if (HAL_LTDC_ConfigLayer(&hltdc, &pLayerCfg, 0) != HAL_OK)
  {
    Error_Handler();
  }
  pLayerCfg1.WindowX0 = 0;
  pLayerCfg1.WindowX1 = 0;
  pLayerCfg1.WindowY0 = 0;
  pLayerCfg1.WindowY1 = 0;
  pLayerCfg1.PixelFormat = LTDC_PIXEL_FORMAT_ARGB8888;
  pLayerCfg1.Alpha = 0;
  pLayerCfg1.Alpha0 = 0;
  pLayerCfg1.BlendingFactor1 = LTDC_BLENDING_FACTOR1_CA;
  pLayerCfg1.BlendingFactor2 = LTDC_BLENDING_FACTOR2_CA;
  pLayerCfg1.FBStartAdress = 0;
  pLayerCfg1.ImageWidth = 0;
  pLayerCfg1.ImageHeight = 0;
  pLayerCfg1.Backcolor.Blue = 0;
  pLayerCfg1.Backcolor.Green = 0;
  pLayerCfg1.Backcolor.Red = 0;
  if (HAL_LTDC_ConfigLayer(&hltdc, &pLayerCfg1, 1) != HAL_OK)
  {
    Error_Handler();
  }

}

static void MX_RNG_Init(void)
{

  hrng.Instance = RNG;
  if (HAL_RNG_Init(&hrng) != HAL_OK)
  {
    Error_Handler();
  }

}

static void MX_SPI5_Init(void)
{

  /* SPI5 parameter configuration*/
  hspi5.Instance = SPI5;
  hspi5.Init.Mode = SPI_MODE_MASTER;
  hspi5.Init.Direction = SPI_DIRECTION_2LINES;
  hspi5.Init.DataSize = SPI_DATASIZE_8BIT;
  hspi5.Init.CLKPolarity = SPI_POLARITY_LOW;
  hspi5.Init.CLKPhase = SPI_PHASE_1EDGE;
  hspi5.Init.NSS = SPI_NSS_SOFT;
  hspi5.Init.BaudRatePrescaler = SPI_BAUDRATEPRESCALER_2;
  hspi5.Init.FirstBit = SPI_FIRSTBIT_MSB;
  hspi5.Init.TIMode = SPI_TIMODE_DISABLE;
  hspi5.Init.CRCCalculation = SPI_CRCCALCULATION_DISABLE;
  hspi5.Init.CRCPolynomial = 10;
  if (HAL_SPI_Init(&hspi5) != HAL_OK)
  {
    Error_Handler();
  }

}

static void MX_TIM7_Init(void)
{

  TIM_MasterConfigTypeDef sMasterConfig = {0};

  htim7.Instance = TIM7;
  htim7.Init.Prescaler = 1487;//0;
  htim7.Init.CounterMode = TIM_COUNTERMODE_UP;
  htim7.Init.Period = 999;//65535;
  htim7.Init.AutoReloadPreload = TIM_AUTORELOAD_PRELOAD_DISABLE;
  if (HAL_TIM_Base_Init(&htim7) != HAL_OK)
  {
    Error_Handler();
  }
  sMasterConfig.MasterOutputTrigger = TIM_TRGO_RESET;
  sMasterConfig.MasterSlaveMode = TIM_MASTERSLAVEMODE_DISABLE;
  if (HAL_TIMEx_MasterConfigSynchronization(&htim7, &sMasterConfig) != HAL_OK)
  {
    Error_Handler();
  }

}

static void MX_GPIO_Init(void)
{
  GPIO_InitTypeDef GPIO_InitStruct = {0};

  /* GPIO Ports Clock Enable */
  __HAL_RCC_GPIOC_CLK_ENABLE();
  __HAL_RCC_GPIOF_CLK_ENABLE();
  __HAL_RCC_GPIOH_CLK_ENABLE();
  __HAL_RCC_GPIOA_CLK_ENABLE();
  __HAL_RCC_GPIOB_CLK_ENABLE();
  __HAL_RCC_GPIOG_CLK_ENABLE();
  __HAL_RCC_GPIOE_CLK_ENABLE();
  __HAL_RCC_GPIOD_CLK_ENABLE();

  /*Configure GPIO pin Output Level */
  HAL_GPIO_WritePin(GPIOC, NCS_MEMS_SPI_Pin|CSX_Pin|OTG_FS_PSO_Pin, GPIO_PIN_RESET);

  /*Configure GPIO pin Output Level */
  HAL_GPIO_WritePin(ACP_RST_GPIO_Port, ACP_RST_Pin, GPIO_PIN_RESET);

  /*Configure GPIO pin Output Level */
  HAL_GPIO_WritePin(GPIOD, RDX_Pin|WRX_DCX_Pin, GPIO_PIN_RESET);

  /*Configure GPIO pin Output Level */
  HAL_GPIO_WritePin(GPIOG, LD3_Pin|LD4_Pin, GPIO_PIN_RESET);

  /*Configure GPIO pins : A0_Pin A1_Pin A2_Pin A3_Pin
                           A4_Pin A5_Pin SDNRAS_Pin A6_Pin
                           A7_Pin A8_Pin A9_Pin */
  GPIO_InitStruct.Pin = A0_Pin|A1_Pin|A2_Pin|A3_Pin
                          |A4_Pin|A5_Pin|SDNRAS_Pin|A6_Pin
                          |A7_Pin|A8_Pin|A9_Pin;
  GPIO_InitStruct.Mode = GPIO_MODE_AF_PP;
  GPIO_InitStruct.Pull = GPIO_NOPULL;
  GPIO_InitStruct.Speed = GPIO_SPEED_FREQ_VERY_HIGH;
  GPIO_InitStruct.Alternate = GPIO_AF12_FMC;
  HAL_GPIO_Init(GPIOF, &GPIO_InitStruct);

  /*Configure GPIO pin : SDNWE_Pin */
  GPIO_InitStruct.Pin = SDNWE_Pin;
  GPIO_InitStruct.Mode = GPIO_MODE_AF_PP;
  GPIO_InitStruct.Pull = GPIO_NOPULL;
  GPIO_InitStruct.Speed = GPIO_SPEED_FREQ_VERY_HIGH;
  GPIO_InitStruct.Alternate = GPIO_AF12_FMC;
  HAL_GPIO_Init(SDNWE_GPIO_Port, &GPIO_InitStruct);

  /*Configure GPIO pins : NCS_MEMS_SPI_Pin CSX_Pin OTG_FS_PSO_Pin */
  GPIO_InitStruct.Pin = NCS_MEMS_SPI_Pin|CSX_Pin|OTG_FS_PSO_Pin;
  GPIO_InitStruct.Mode = GPIO_MODE_OUTPUT_PP;
  GPIO_InitStruct.Pull = GPIO_NOPULL;
  GPIO_InitStruct.Speed = GPIO_SPEED_FREQ_LOW;
  HAL_GPIO_Init(GPIOC, &GPIO_InitStruct);

  /*Configure GPIO pins : B1_Pin MEMS_INT1_Pin MEMS_INT2_Pin TP_INT1_Pin */
  GPIO_InitStruct.Pin = B1_Pin|MEMS_INT1_Pin|MEMS_INT2_Pin|TP_INT1_Pin;
  GPIO_InitStruct.Mode = GPIO_MODE_EVT_RISING;
  GPIO_InitStruct.Pull = GPIO_NOPULL;
  HAL_GPIO_Init(GPIOA, &GPIO_InitStruct);

  /*Configure GPIO pin : ACP_RST_Pin */
  GPIO_InitStruct.Pin = ACP_RST_Pin;
  GPIO_InitStruct.Mode = GPIO_MODE_OUTPUT_PP;
  GPIO_InitStruct.Pull = GPIO_NOPULL;
  GPIO_InitStruct.Speed = GPIO_SPEED_FREQ_LOW;
  HAL_GPIO_Init(ACP_RST_GPIO_Port, &GPIO_InitStruct);

  /*Configure GPIO pin : OTG_FS_OC_Pin */
  GPIO_InitStruct.Pin = OTG_FS_OC_Pin;
  GPIO_InitStruct.Mode = GPIO_MODE_EVT_RISING;
  GPIO_InitStruct.Pull = GPIO_NOPULL;
  HAL_GPIO_Init(OTG_FS_OC_GPIO_Port, &GPIO_InitStruct);

  /*Configure GPIO pin : BOOT1_Pin */
  GPIO_InitStruct.Pin = BOOT1_Pin;
  GPIO_InitStruct.Mode = GPIO_MODE_INPUT;
  GPIO_InitStruct.Pull = GPIO_NOPULL;
  HAL_GPIO_Init(BOOT1_GPIO_Port, &GPIO_InitStruct);

  /*Configure GPIO pins : A10_Pin A11_Pin BA0_Pin BA1_Pin
                           SDCLK_Pin SDNCAS_Pin */
  GPIO_InitStruct.Pin = A10_Pin|A11_Pin|BA0_Pin|BA1_Pin
                          |SDCLK_Pin|SDNCAS_Pin;
  GPIO_InitStruct.Mode = GPIO_MODE_AF_PP;
  GPIO_InitStruct.Pull = GPIO_NOPULL;
  GPIO_InitStruct.Speed = GPIO_SPEED_FREQ_VERY_HIGH;
  GPIO_InitStruct.Alternate = GPIO_AF12_FMC;
  HAL_GPIO_Init(GPIOG, &GPIO_InitStruct);

  /*Configure GPIO pins : D4_Pin D5_Pin D6_Pin D7_Pin
                           D8_Pin D9_Pin D10_Pin D11_Pin
                           D12_Pin NBL0_Pin NBL1_Pin */
  GPIO_InitStruct.Pin = D4_Pin|D5_Pin|D6_Pin|D7_Pin
                          |D8_Pin|D9_Pin|D10_Pin|D11_Pin
                          |D12_Pin|NBL0_Pin|NBL1_Pin;
  GPIO_InitStruct.Mode = GPIO_MODE_AF_PP;
  GPIO_InitStruct.Pull = GPIO_NOPULL;
  GPIO_InitStruct.Speed = GPIO_SPEED_FREQ_VERY_HIGH;
  GPIO_InitStruct.Alternate = GPIO_AF12_FMC;
  HAL_GPIO_Init(GPIOE, &GPIO_InitStruct);

  /*Configure GPIO pins : OTG_HS_ID_Pin OTG_HS_DM_Pin OTG_HS_DP_Pin */
  GPIO_InitStruct.Pin = OTG_HS_ID_Pin|OTG_HS_DM_Pin|OTG_HS_DP_Pin;
  GPIO_InitStruct.Mode = GPIO_MODE_AF_PP;
  GPIO_InitStruct.Pull = GPIO_NOPULL;
  GPIO_InitStruct.Speed = GPIO_SPEED_FREQ_LOW;
  GPIO_InitStruct.Alternate = GPIO_AF12_OTG_HS_FS;
  HAL_GPIO_Init(GPIOB, &GPIO_InitStruct);

  /*Configure GPIO pin : VBUS_HS_Pin */
  GPIO_InitStruct.Pin = VBUS_HS_Pin;
  GPIO_InitStruct.Mode = GPIO_MODE_INPUT;
  GPIO_InitStruct.Pull = GPIO_NOPULL;
  HAL_GPIO_Init(VBUS_HS_GPIO_Port, &GPIO_InitStruct);

  /*Configure GPIO pins : D13_Pin D14_Pin D15_Pin D0_Pin
                           D1_Pin D2_Pin D3_Pin */
  GPIO_InitStruct.Pin = D13_Pin|D14_Pin|D15_Pin|D0_Pin
                          |D1_Pin|D2_Pin|D3_Pin;
  GPIO_InitStruct.Mode = GPIO_MODE_AF_PP;
  GPIO_InitStruct.Pull = GPIO_NOPULL;
  GPIO_InitStruct.Speed = GPIO_SPEED_FREQ_VERY_HIGH;
  GPIO_InitStruct.Alternate = GPIO_AF12_FMC;
  HAL_GPIO_Init(GPIOD, &GPIO_InitStruct);

  /*Configure GPIO pin : TE_Pin */
  GPIO_InitStruct.Pin = TE_Pin;
  GPIO_InitStruct.Mode = GPIO_MODE_INPUT;
  GPIO_InitStruct.Pull = GPIO_NOPULL;
  HAL_GPIO_Init(TE_GPIO_Port, &GPIO_InitStruct);

  /*Configure GPIO pins : RDX_Pin WRX_DCX_Pin */
  GPIO_InitStruct.Pin = RDX_Pin|WRX_DCX_Pin;
  GPIO_InitStruct.Mode = GPIO_MODE_OUTPUT_PP;
  GPIO_InitStruct.Pull = GPIO_NOPULL;
  GPIO_InitStruct.Speed = GPIO_SPEED_FREQ_LOW;
  HAL_GPIO_Init(GPIOD, &GPIO_InitStruct);

  /*Configure GPIO pins : STLINK_RX_Pin STLINK_TX_Pin */
  GPIO_InitStruct.Pin = STLINK_RX_Pin|STLINK_TX_Pin;
  GPIO_InitStruct.Mode = GPIO_MODE_AF_PP;
  GPIO_InitStruct.Pull = GPIO_NOPULL;
  GPIO_InitStruct.Speed = GPIO_SPEED_FREQ_VERY_HIGH;
  GPIO_InitStruct.Alternate = GPIO_AF7_USART1;
  HAL_GPIO_Init(GPIOA, &GPIO_InitStruct);

  /*Configure GPIO pins : LD3_Pin LD4_Pin */
  GPIO_InitStruct.Pin = LD3_Pin|LD4_Pin;
  GPIO_InitStruct.Mode = GPIO_MODE_OUTPUT_PP;
  GPIO_InitStruct.Pull = GPIO_NOPULL;
  GPIO_InitStruct.Speed = GPIO_SPEED_FREQ_LOW;
  HAL_GPIO_Init(GPIOG, &GPIO_InitStruct);

  /*Configure GPIO pins : SDCKE1_Pin SDNE1_Pin */
  GPIO_InitStruct.Pin = SDCKE1_Pin|SDNE1_Pin;
  GPIO_InitStruct.Mode = GPIO_MODE_AF_PP;
  GPIO_InitStruct.Pull = GPIO_NOPULL;
  GPIO_InitStruct.Speed = GPIO_SPEED_FREQ_VERY_HIGH;
  GPIO_InitStruct.Alternate = GPIO_AF12_FMC;
  HAL_GPIO_Init(GPIOB, &GPIO_InitStruct);

}

/* USER CODE BEGIN 4 */
void SystemClock_Config(void)
{
  RCC_OscInitTypeDef RCC_OscInitStruct = {0};
  RCC_ClkInitTypeDef RCC_ClkInitStruct = {0};

  /** Configure the main internal regulator output voltage
  */
  __HAL_RCC_PWR_CLK_ENABLE();
  __HAL_PWR_VOLTAGESCALING_CONFIG(PWR_REGULATOR_VOLTAGE_SCALE3);

  /** Initializes the RCC Oscillators according to the specified parameters
  * in the RCC_OscInitTypeDef structure.
  */
  RCC_OscInitStruct.OscillatorType = RCC_OSCILLATORTYPE_HSI;
  RCC_OscInitStruct.HSIState = RCC_HSI_ON;
  RCC_OscInitStruct.HSICalibrationValue = RCC_HSICALIBRATION_DEFAULT;
  RCC_OscInitStruct.PLL.PLLState = RCC_PLL_ON;
  RCC_OscInitStruct.PLL.PLLSource = RCC_PLLSOURCE_HSI;
  RCC_OscInitStruct.PLL.PLLM = 8;
  RCC_OscInitStruct.PLL.PLLN = 50;
  RCC_OscInitStruct.PLL.PLLP = RCC_PLLP_DIV4;
  RCC_OscInitStruct.PLL.PLLQ = 7;
  if (HAL_RCC_OscConfig(&RCC_OscInitStruct) != HAL_OK)
  {
    Error_Handler();
  }

  /** Initializes the CPU, AHB and APB buses clocks
  */
  RCC_ClkInitStruct.ClockType = RCC_CLOCKTYPE_HCLK|RCC_CLOCKTYPE_SYSCLK
                              |RCC_CLOCKTYPE_PCLK1|RCC_CLOCKTYPE_PCLK2;
  RCC_ClkInitStruct.SYSCLKSource = RCC_SYSCLKSOURCE_PLLCLK;
  RCC_ClkInitStruct.AHBCLKDivider = RCC_SYSCLK_DIV1;
  RCC_ClkInitStruct.APB1CLKDivider = RCC_HCLK_DIV8;
  RCC_ClkInitStruct.APB2CLKDivider = RCC_HCLK_DIV4;

  if (HAL_RCC_ClockConfig(&RCC_ClkInitStruct, FLASH_LATENCY_0) != HAL_OK)
  {
    Error_Handler();
  }
}

void SystemClockOverride(void)
{
  RCC_ClkInitTypeDef RCC_ClkInitStruct;
  RCC_OscInitTypeDef RCC_OscInitStruct;

  __HAL_RCC_PWR_CLK_ENABLE();

  // __HAL_PWR_VOLTAGESCALING_CONFIG(PWR_REGULATOR_VOLTAGE_SCALE1); // not needed, power scaling consumption for when not running at max freq.

  /* Enable HSE Osc and activate PLL with HSE source */
  RCC_OscInitStruct.OscillatorType = RCC_OSCILLATORTYPE_HSE;
  RCC_OscInitStruct.HSEState = RCC_HSE_ON;
  RCC_OscInitStruct.PLL.PLLState = RCC_PLL_ON;
  RCC_OscInitStruct.PLL.PLLSource = RCC_PLLSOURCE_HSE;
  RCC_OscInitStruct.PLL.PLLM = 8;
  RCC_OscInitStruct.PLL.PLLN = 336;
  RCC_OscInitStruct.PLL.PLLP = RCC_PLLP_DIV2;
  RCC_OscInitStruct.PLL.PLLQ = 7;
  HAL_RCC_OscConfig(&RCC_OscInitStruct);

  /* Select PLL as system clock source and configure the HCLK, PCLK1 and PCLK2 clocks dividers */
  RCC_ClkInitStruct.ClockType = (RCC_CLOCKTYPE_SYSCLK | RCC_CLOCKTYPE_HCLK | RCC_CLOCKTYPE_PCLK1 | RCC_CLOCKTYPE_PCLK2);
  RCC_ClkInitStruct.SYSCLKSource = RCC_SYSCLKSOURCE_PLLCLK;
  RCC_ClkInitStruct.AHBCLKDivider = RCC_SYSCLK_DIV1;
  RCC_ClkInitStruct.APB1CLKDivider = RCC_HCLK_DIV4;
  RCC_ClkInitStruct.APB2CLKDivider = RCC_HCLK_DIV2;
  HAL_RCC_ClockConfig(&RCC_ClkInitStruct, FLASH_LATENCY_5);
}

/* USER CODE END 4 */

void Error_Handler(void)
{
  __disable_irq();
  while (1)
  {
  }
}
